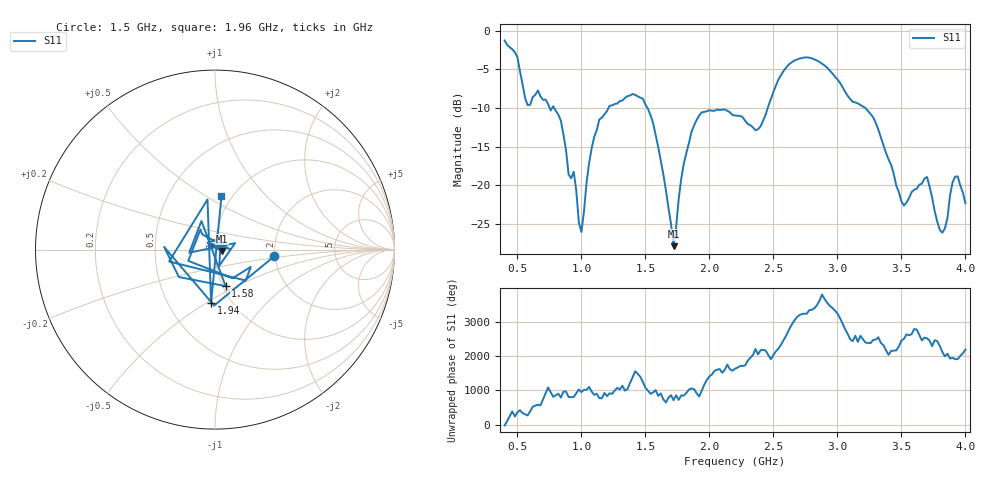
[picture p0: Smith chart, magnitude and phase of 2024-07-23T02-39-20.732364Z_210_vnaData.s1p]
!Created with skrf (http://scikit-rf.org).
# Hz S RI R 50.0
!freq ReS11 ImS11
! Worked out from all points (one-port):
!   181 points, 400 MHz to 4 GHz, reference 50 ohm
!   lowest |S11| = -27.9 dB at 1.72 GHz (marker M1), VSWR 1.08, Z = 54.1 - j0.803 ohm
!   |S11| at or under -10 dB: 787.4 MHz to 1.212 GHz (424.4 MHz wide, 42.5 % of centre); 1.516 GHz to 2.456 GHz (940.2 MHz wide, 47.3 % of centre); 3.218 GHz to end of sweep (the widest 3 of 4)
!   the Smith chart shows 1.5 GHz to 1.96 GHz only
!   S11 on the Smith chart (normalised r, x): 1.5 GHz: 1.98, -0.17; 1.58 GHz: 1.03, -0.44; 1.94 GHz: 0.81, -0.52; 1.96 GHz: 0.90, +0.58
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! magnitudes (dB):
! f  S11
! 400 MHz  -1.3
! 500 MHz  -3.4
! 580 MHz  -9.6
! 660 MHz  -7.7
! 860 MHz  -13.5
! 900 MHz  -18.6
! 940 MHz  -18.3
! 1 GHz  -26.1
! 1.1 GHz  -13.7
! 1.3 GHz  -9.1
! 1.5 GHz  -9.6
! 1.58 GHz  -13.5
! 1.72 GHz  -27.9
! 1.76 GHz  -21.8
! 1.86 GHz  -13.1
! 1.94 GHz  -10.6
! 1.96 GHz  -10.5
! 2.2 GHz  -11.0
! 2.38 GHz  -12.8
! 2.66 GHz  -3.9
! 3.1 GHz  -8.8
! 3.28 GHz  -11.2
! 3.5 GHz  -22.1
! 3.56 GHz  -21.7
! 3.7 GHz  -18.9
! 3.82 GHz  -26.2
! 3.92 GHz  -18.9
! 4 GHz  -22.3
